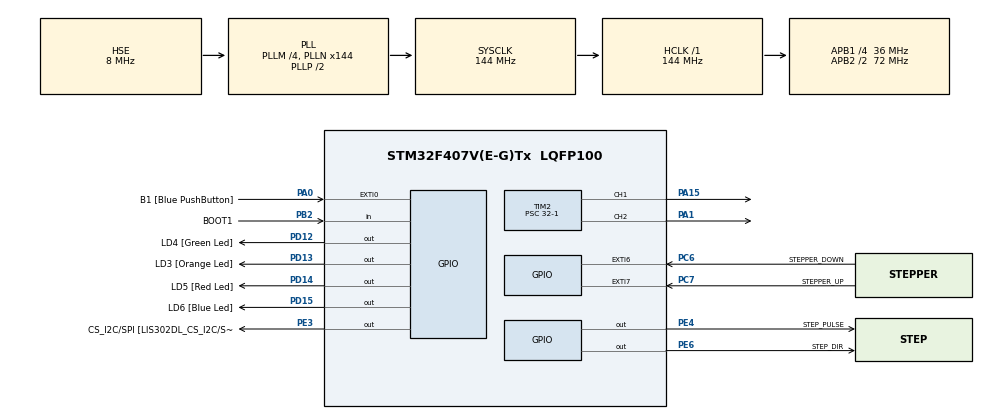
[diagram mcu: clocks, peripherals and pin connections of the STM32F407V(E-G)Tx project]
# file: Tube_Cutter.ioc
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Mcu.Family=STM32F4
Mcu.Name=STM32F407V(E-G)Tx
Mcu.Package=LQFP100
Mcu.UserConstants=htim8_usage,LED_blink;htim3_usage,debounce
NVIC.EXTI0_IRQn=true\:0\:0\:false\:false\:true\:true\:true\:true
NVIC.EXTI9_5_IRQn=true\:0\:0\:false\:false\:true\:true\:true\:true
NVIC.PriorityGroup=NVIC_PRIORITYGROUP_0
NVIC.TIM3_IRQn=true\:0\:0\:false\:false\:true\:true\:true\:true
NVIC.TIM4_IRQn=true\:0\:0\:false\:false\:true\:true\:true\:true
NVIC.TIM5_IRQn=true\:0\:0\:false\:false\:true\:true\:true\:true
NVIC.TIM7_IRQn=true\:0\:0\:false\:false\:true\:true\:true\:true
PA0-WKUP.GPIO_Label=B1 [Blue PushButton]
PA0-WKUP.GPIO_ModeDefaultEXTI=GPIO_MODE_IT_RISING_FALLING
PA0-WKUP.GPIO_PuPd=GPIO_NOPULL
PA0-WKUP.Signal=GPXTI0
PA1.Signal=S_TIM2_CH2
PA13.GPIO_Label=SWDIO
PA13.Mode=Serial_Wire
PA13.Signal=SYS_JTMS-SWDIO
PA14.GPIO_Label=SWCLK
PA14.Mode=Serial_Wire
PA14.Signal=SYS_JTCK-SWCLK
PA15.Signal=S_TIM2_CH1_ETR
PB2.GPIO_Label=BOOT1
PB2.GPIO_Mode=GPIO_MODE_INPUT
PB2.GPIO_PuPd=GPIO_NOPULL
PB2.Signal=GPIO_Input
PC14-OSC32_IN.GPIO_Label=PC14-OSC32_IN
PC14-OSC32_IN.Mode=LSE-External-Oscillator
PC14-OSC32_IN.Signal=RCC_OSC32_IN
PC15-OSC32_OUT.GPIO_Label=PC15-OSC32_OUT
PC15-OSC32_OUT.Mode=LSE-External-Oscillator
PC15-OSC32_OUT.Signal=RCC_OSC32_OUT
PC6.GPIO_Label=STEPPER_DOWN
PC6.GPIO_PuPd=GPIO_PULLDOWN
PC6.Signal=GPXTI6
PC7.GPIO_Label=STEPPER_UP
PC7.GPIO_PuPd=GPIO_PULLDOWN
PC7.Signal=GPXTI7
PD12.GPIO_Label=LD4 [Green Led]
PD12.GPIO_PuPd=GPIO_NOPULL
PD12.GPIO_Speed=GPIO_SPEED_FREQ_LOW
PD12.Signal=GPIO_Output
PD13.GPIO_Label=LD3 [Orange Led]
PD13.GPIO_PuPd=GPIO_NOPULL
PD13.GPIO_Speed=GPIO_SPEED_FREQ_LOW
PD13.Signal=GPIO_Output
PD14.GPIO_Label=LD5 [Red Led]
PD14.GPIO_PuPd=GPIO_NOPULL
PD14.GPIO_Speed=GPIO_SPEED_FREQ_LOW
PD14.Signal=GPIO_Output
PD15.GPIO_Label=LD6 [Blue Led]
PD15.GPIO_PuPd=GPIO_NOPULL
PD15.GPIO_Speed=GPIO_SPEED_FREQ_LOW
PD15.Signal=GPIO_Output
PE3.GPIO_Label=CS_I2C/SPI [LIS302DL_CS_I2C/SPI]
PE3.GPIO_PuPd=GPIO_NOPULL
PE3.GPIO_Speed=GPIO_SPEED_FREQ_LOW
PE3.Signal=GPIO_Output
PE4.GPIO_Label=STEP_PULSE
PE4.Signal=GPIO_Output
PE6.GPIO_Label=STEP_DIR
PE6.Signal=GPIO_Output
PH0-OSC_IN.GPIO_Label=PH0-OSC_IN
PH0-OSC_IN.Mode=HSE-External-Oscillator
PH0-OSC_IN.Signal=RCC_OSC_IN
PH1-OSC_OUT.GPIO_Label=PH1-OSC_OUT
PH1-OSC_OUT.Mode=HSE-External-Oscillator
PH1-OSC_OUT.Signal=RCC_OSC_OUT
ProjectManager.HeapSize=0x200
ProjectManager.StackSize=0x400
ProjectManager.TargetToolchain=STM32CubeIDE
RCC.48MHZClocksFreq_Value=48000000
RCC.AHBFreq_Value=144000000
RCC.APB1CLKDivider=RCC_HCLK_DIV4
RCC.APB1Freq_Value=36000000
RCC.APB1TimFreq_Value=72000000
RCC.APB2CLKDivider=RCC_HCLK_DIV2
RCC.APB2Freq_Value=72000000
RCC.APB2TimFreq_Value=144000000
RCC.CortexFreq_Value=144000000
RCC.HCLKFreq_Value=144000000
RCC.HSE_VALUE=8000000
RCC.HSI_VALUE=16000000
RCC.PLLI2SN=50
RCC.PLLM=4
RCC.PLLN=144
RCC.PLLQ=6
RCC.PLLSourceVirtual=RCC_PLLSOURCE_HSE
RCC.SYSCLKFreq_VALUE=144000000
RCC.SYSCLKSource=RCC_SYSCLKSOURCE_PLLCLK
RCC.VCOOutputFreq_Value=288000000
SH.S_TIM2_CH1_ETR.0=TIM2_CH1,PWM Generation1 CH1
SH.S_TIM2_CH2.0=TIM2_CH2,PWM Generation2 CH2
TIM2.Channel-PWM\ Generation1\ CH1=TIM_CHANNEL_1
TIM2.Channel-PWM\ Generation2\ CH2=TIM_CHANNEL_2
TIM2.Period=45000-1
TIM2.Prescaler=32-1
TIM3.Period=500
TIM3.Prescaler=7200
TIM4.Period=20
TIM4.Prescaler=360-1
TIM5.Period=4500-1
TIM5.Prescaler=15360-1
TIM7.Period=1000
TIM7.Prescaler=7200
VP_TIM2_VS_ClockSourceINT.Mode=Internal
VP_TIM3_VS_ClockSourceINT.Mode=Internal
VP_TIM4_VS_ClockSourceINT.Mode=Internal
VP_TIM5_VS_ClockSourceINT.Mode=Internal
VP_TIM7_VS_ClockSourceINT.Mode=Enable_Timer
board=STM32F407G-DISC1

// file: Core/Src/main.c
/* USER CODE BEGIN Header */
/**
  ******************************************************************************
  * @file           : main.c
  * @brief          : Main program body
  ******************************************************************************
  * @attention
  *
  * Copyright (c) 2024 STMicroelectronics.
  * All rights reserved.
  *
  * This software is licensed under terms that can be found in the LICENSE file
  * in the root directory of this software component.
  * If no LICENSE file comes with this software, it is provided AS-IS.
  *
  ******************************************************************************
  */
/* USER CODE END Header */
#include "main.h"

/* USER CODE BEGIN Includes */
#include "cutter.h"
#include "buttons.h"
#include "cut_code.h"
/* USER CODE END Includes */

TIM_HandleTypeDef htim2;
TIM_HandleTypeDef htim3;
TIM_HandleTypeDef htim4;
TIM_HandleTypeDef htim5;
TIM_HandleTypeDef htim7;

/* USER CODE BEGIN PV */

struct PCNC_Setup *cutter;

/* USER CODE END PV */

void SystemClock_Config(void);
static void MX_GPIO_Init(void);
static void MX_TIM2_Init(void);
static void MX_TIM5_Init(void);
static void MX_TIM4_Init(void);
static void MX_TIM3_Init(void);
static void MX_TIM7_Init(void);

int main(void)
{

  /* MCU Configuration--------------------------------------------------------*/

  /* Reset of all peripherals, Initializes the Flash interface and the Systick. */
  HAL_Init();

  /* Configure the system clock */
  SystemClock_Config();

  /* Initialize all configured peripherals */
  MX_GPIO_Init();
  MX_TIM2_Init();
  MX_TIM5_Init();
  MX_TIM4_Init();
  MX_TIM3_Init();
  MX_TIM7_Init();
  /* USER CODE BEGIN 2 */
  HAL_GPIO_WritePin(LD4_GPIO_Port, LD4_Pin, GPIO_PIN_RESET);
  HAL_GPIO_WritePin(LD3_GPIO_Port, LD3_Pin, GPIO_PIN_RESET);
  HAL_GPIO_WritePin(LD6_GPIO_Port, LD6_Pin, GPIO_PIN_SET);
  cutter = PCNC_Get_Setup();
  PCNC_Startup(cutter);
  /* USER CODE END 2 */

  /* Infinite loop */
  while (1)
  {

    /* USER CODE BEGIN 3 */
    __NOP();
  }
  /* USER CODE END 3 */
}

void SystemClock_Config(void)
{
  RCC_OscInitTypeDef RCC_OscInitStruct = {0};
  RCC_ClkInitTypeDef RCC_ClkInitStruct = {0};

  /** Configure the main internal regulator output voltage
  */
  __HAL_RCC_PWR_CLK_ENABLE();
  __HAL_PWR_VOLTAGESCALING_CONFIG(PWR_REGULATOR_VOLTAGE_SCALE1);

  /** Initializes the RCC Oscillators according to the specified parameters
  * in the RCC_OscInitTypeDef structure.
  */
  RCC_OscInitStruct.OscillatorType = RCC_OSCILLATORTYPE_HSE;
  RCC_OscInitStruct.HSEState = RCC_HSE_ON;
  RCC_OscInitStruct.PLL.PLLState = RCC_PLL_ON;
  RCC_OscInitStruct.PLL.PLLSource = RCC_PLLSOURCE_HSE;
  RCC_OscInitStruct.PLL.PLLM = 4;
  RCC_OscInitStruct.PLL.PLLN = 144;
  RCC_OscInitStruct.PLL.PLLP = RCC_PLLP_DIV2;
  RCC_OscInitStruct.PLL.PLLQ = 6;
  if (HAL_RCC_OscConfig(&RCC_OscInitStruct) != HAL_OK)
  {
    Error_Handler();
  }

  /** Initializes the CPU, AHB and APB buses clocks
  */
  RCC_ClkInitStruct.ClockType = RCC_CLOCKTYPE_HCLK|RCC_CLOCKTYPE_SYSCLK
                              |RCC_CLOCKTYPE_PCLK1|RCC_CLOCKTYPE_PCLK2;
  RCC_ClkInitStruct.SYSCLKSource = RCC_SYSCLKSOURCE_PLLCLK;
  RCC_ClkInitStruct.AHBCLKDivider = RCC_SYSCLK_DIV1;
  RCC_ClkInitStruct.APB1CLKDivider = RCC_HCLK_DIV4;
  RCC_ClkInitStruct.APB2CLKDivider = RCC_HCLK_DIV2;

  if (HAL_RCC_ClockConfig(&RCC_ClkInitStruct, FLASH_LATENCY_4) != HAL_OK)
  {
    Error_Handler();
  }
}

static void MX_TIM2_Init(void)
{

  TIM_ClockConfigTypeDef sClockSourceConfig = {0};
  TIM_MasterConfigTypeDef sMasterConfig = {0};
  TIM_OC_InitTypeDef sConfigOC = {0};

  htim2.Instance = TIM2;
  htim2.Init.Prescaler = 32-1;
  htim2.Init.CounterMode = TIM_COUNTERMODE_UP;
  htim2.Init.Period = 45000-1;
  htim2.Init.ClockDivision = TIM_CLOCKDIVISION_DIV1;
  htim2.Init.AutoReloadPreload = TIM_AUTORELOAD_PRELOAD_DISABLE;
  if (HAL_TIM_Base_Init(&htim2) != HAL_OK)
  {
    Error_Handler();
  }
  sClockSourceConfig.ClockSource = TIM_CLOCKSOURCE_INTERNAL;
  if (HAL_TIM_ConfigClockSource(&htim2, &sClockSourceConfig) != HAL_OK)
  {
    Error_Handler();
  }
  if (HAL_TIM_PWM_Init(&htim2) != HAL_OK)
  {
    Error_Handler();
  }
  sMasterConfig.MasterOutputTrigger = TIM_TRGO_RESET;
  sMasterConfig.MasterSlaveMode = TIM_MASTERSLAVEMODE_DISABLE;
  if (HAL_TIMEx_MasterConfigSynchronization(&htim2, &sMasterConfig) != HAL_OK)
  {
    Error_Handler();
  }
  sConfigOC.OCMode = TIM_OCMODE_PWM1;
  sConfigOC.Pulse = 0;
  sConfigOC.OCPolarity = TIM_OCPOLARITY_HIGH;
  sConfigOC.OCFastMode = TIM_OCFAST_DISABLE;
  if (HAL_TIM_PWM_ConfigChannel(&htim2, &sConfigOC, TIM_CHANNEL_1) != HAL_OK)
  {
    Error_Handler();
  }
  if (HAL_TIM_PWM_ConfigChannel(&htim2, &sConfigOC, TIM_CHANNEL_2) != HAL_OK)
  {
    Error_Handler();
  }
  HAL_TIM_MspPostInit(&htim2);

}

static void MX_TIM3_Init(void)
{

  TIM_ClockConfigTypeDef sClockSourceConfig = {0};
  TIM_MasterConfigTypeDef sMasterConfig = {0};

  htim3.Instance = TIM3;
  htim3.Init.Prescaler = 7200;
  htim3.Init.CounterMode = TIM_COUNTERMODE_UP;
  htim3.Init.Period = 500;
  htim3.Init.ClockDivision = TIM_CLOCKDIVISION_DIV1;
  htim3.Init.AutoReloadPreload = TIM_AUTORELOAD_PRELOAD_DISABLE;
  if (HAL_TIM_Base_Init(&htim3) != HAL_OK)
  {
    Error_Handler();
  }
  sClockSourceConfig.ClockSource = TIM_CLOCKSOURCE_INTERNAL;
  if (HAL_TIM_ConfigClockSource(&htim3, &sClockSourceConfig) != HAL_OK)
  {
    Error_Handler();
  }
  sMasterConfig.MasterOutputTrigger = TIM_TRGO_RESET;
  sMasterConfig.MasterSlaveMode = TIM_MASTERSLAVEMODE_DISABLE;
  if (HAL_TIMEx_MasterConfigSynchronization(&htim3, &sMasterConfig) != HAL_OK)
  {
    Error_Handler();
  }

}

static void MX_TIM4_Init(void)
{

  TIM_ClockConfigTypeDef sClockSourceConfig = {0};
  TIM_MasterConfigTypeDef sMasterConfig = {0};

  htim4.Instance = TIM4;
  htim4.Init.Prescaler = 360-1;
  htim4.Init.CounterMode = TIM_COUNTERMODE_UP;
  htim4.Init.Period = 20;
  htim4.Init.ClockDivision = TIM_CLOCKDIVISION_DIV1;
  htim4.Init.AutoReloadPreload = TIM_AUTORELOAD_PRELOAD_DISABLE;
  if (HAL_TIM_Base_Init(&htim4) != HAL_OK)
  {
    Error_Handler();
  }
  sClockSourceConfig.ClockSource = TIM_CLOCKSOURCE_INTERNAL;
  if (HAL_TIM_ConfigClockSource(&htim4, &sClockSourceConfig) != HAL_OK)
  {
    Error_Handler();
  }
  sMasterConfig.MasterOutputTrigger = TIM_TRGO_RESET;
  sMasterConfig.MasterSlaveMode = TIM_MASTERSLAVEMODE_DISABLE;
  if (HAL_TIMEx_MasterConfigSynchronization(&htim4, &sMasterConfig) != HAL_OK)
  {
    Error_Handler();
  }

}

static void MX_TIM5_Init(void)
{

  TIM_ClockConfigTypeDef sClockSourceConfig = {0};
  TIM_MasterConfigTypeDef sMasterConfig = {0};

  htim5.Instance = TIM5;
  htim5.Init.Prescaler = 15360-1;
  htim5.Init.CounterMode = TIM_COUNTERMODE_UP;
  htim5.Init.Period = 4500-1;
  htim5.Init.ClockDivision = TIM_CLOCKDIVISION_DIV1;
  htim5.Init.AutoReloadPreload = TIM_AUTORELOAD_PRELOAD_DISABLE;
  if (HAL_TIM_Base_Init(&htim5) != HAL_OK)
  {
    Error_Handler();
  }
  sClockSourceConfig.ClockSource = TIM_CLOCKSOURCE_INTERNAL;
  if (HAL_TIM_ConfigClockSource(&htim5, &sClockSourceConfig) != HAL_OK)
  {
    Error_Handler();
  }
  sMasterConfig.MasterOutputTrigger = TIM_TRGO_RESET;
  sMasterConfig.MasterSlaveMode = TIM_MASTERSLAVEMODE_DISABLE;
  if (HAL_TIMEx_MasterConfigSynchronization(&htim5, &sMasterConfig) != HAL_OK)
  {
    Error_Handler();
  }

}

static void MX_TIM7_Init(void)
{

  TIM_MasterConfigTypeDef sMasterConfig = {0};

  htim7.Instance = TIM7;
  htim7.Init.Prescaler = 7200;
  htim7.Init.CounterMode = TIM_COUNTERMODE_UP;
  htim7.Init.Period = 1000;
  htim7.Init.AutoReloadPreload = TIM_AUTORELOAD_PRELOAD_DISABLE;
  if (HAL_TIM_Base_Init(&htim7) != HAL_OK)
  {
    Error_Handler();
  }
  sMasterConfig.MasterOutputTrigger = TIM_TRGO_RESET;
  sMasterConfig.MasterSlaveMode = TIM_MASTERSLAVEMODE_DISABLE;
  if (HAL_TIMEx_MasterConfigSynchronization(&htim7, &sMasterConfig) != HAL_OK)
  {
    Error_Handler();
  }

}

static void MX_GPIO_Init(void)
{
  GPIO_InitTypeDef GPIO_InitStruct = {0};

  /* GPIO Ports Clock Enable */
  __HAL_RCC_GPIOE_CLK_ENABLE();
  __HAL_RCC_GPIOC_CLK_ENABLE();
  __HAL_RCC_GPIOH_CLK_ENABLE();
  __HAL_RCC_GPIOA_CLK_ENABLE();
  __HAL_RCC_GPIOB_CLK_ENABLE();
  __HAL_RCC_GPIOD_CLK_ENABLE();

  /*Configure GPIO pin Output Level */
  HAL_GPIO_WritePin(GPIOE, CS_I2C_SPI_Pin|STEP_PULSE_Pin|STEP_DIR_Pin, GPIO_PIN_RESET);

  /*Configure GPIO pin Output Level */
  HAL_GPIO_WritePin(GPIOD, LD4_Pin|LD3_Pin|LD5_Pin|LD6_Pin, GPIO_PIN_RESET);

  /*Configure GPIO pins : CS_I2C_SPI_Pin STEP_PULSE_Pin STEP_DIR_Pin */
  GPIO_InitStruct.Pin = CS_I2C_SPI_Pin|STEP_PULSE_Pin|STEP_DIR_Pin;
  GPIO_InitStruct.Mode = GPIO_MODE_OUTPUT_PP;
  GPIO_InitStruct.Pull = GPIO_NOPULL;
  GPIO_InitStruct.Speed = GPIO_SPEED_FREQ_LOW;
  HAL_GPIO_Init(GPIOE, &GPIO_InitStruct);

  /*Configure GPIO pin : B1_Pin */
  GPIO_InitStruct.Pin = B1_Pin;
  GPIO_InitStruct.Mode = GPIO_MODE_IT_RISING_FALLING;
  GPIO_InitStruct.Pull = GPIO_NOPULL;
  HAL_GPIO_Init(B1_GPIO_Port, &GPIO_InitStruct);

  /*Configure GPIO pin : BOOT1_Pin */
  GPIO_InitStruct.Pin = BOOT1_Pin;
  GPIO_InitStruct.Mode = GPIO_MODE_INPUT;
  GPIO_InitStruct.Pull = GPIO_NOPULL;
  HAL_GPIO_Init(BOOT1_GPIO_Port, &GPIO_InitStruct);

  /*Configure GPIO pins : LD4_Pin LD3_Pin LD5_Pin LD6_Pin */
  GPIO_InitStruct.Pin = LD4_Pin|LD3_Pin|LD5_Pin|LD6_Pin;
  GPIO_InitStruct.Mode = GPIO_MODE_OUTPUT_PP;
  GPIO_InitStruct.Pull = GPIO_NOPULL;
  GPIO_InitStruct.Speed = GPIO_SPEED_FREQ_LOW;
  HAL_GPIO_Init(GPIOD, &GPIO_InitStruct);

  /*Configure GPIO pins : STEPPER_DOWN_Pin STEPPER_UP_Pin */
  GPIO_InitStruct.Pin = STEPPER_DOWN_Pin|STEPPER_UP_Pin;
  GPIO_InitStruct.Mode = GPIO_MODE_IT_RISING;
  GPIO_InitStruct.Pull = GPIO_PULLDOWN;
  HAL_GPIO_Init(GPIOC, &GPIO_InitStruct);

  /* EXTI interrupt init*/
  HAL_NVIC_SetPriority(EXTI0_IRQn, 0, 0);
  HAL_NVIC_EnableIRQ(EXTI0_IRQn);

  HAL_NVIC_SetPriority(EXTI9_5_IRQn, 0, 0);
  HAL_NVIC_EnableIRQ(EXTI9_5_IRQn);

}

/* USER CODE BEGIN 4 */

void HAL_TIM_PeriodElapsedCallback(TIM_HandleTypeDef *htim)
{
  if (htim == &htim5) {
	  PCNC_Servo_Unlock(cutter);
  }
  else if (htim == &htim4 )
  {
	  PCNC_Stepper_ISR(cutter);
  }
  else if (htim == &htim3) {
	  Debounce_Buttons();
  }
  else if (htim == &htim7) {
	  HAL_GPIO_TogglePin(LD5_GPIO_Port, LD5_Pin);
  }
}

/* USER CODE END 4 */

void Error_Handler(void)
{
  __disable_irq();
  while (1)
  {
  }
}
